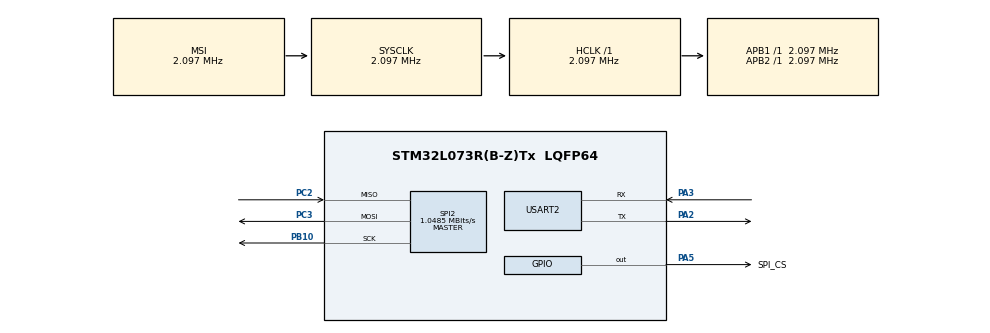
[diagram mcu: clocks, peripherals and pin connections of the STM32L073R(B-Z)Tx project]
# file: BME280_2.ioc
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Mcu.Family=STM32L0
Mcu.Name=STM32L073R(B-Z)Tx
Mcu.Package=LQFP64
NVIC.SPI2_IRQn=true\:0\:0\:false\:false\:true\:true\:true\:true
NVIC.TIM2_IRQn=true\:0\:0\:false\:false\:true\:true\:true\:true
PA2.Mode=Asynchronous
PA2.Signal=USART2_TX
PA3.Mode=Asynchronous
PA3.Signal=USART2_RX
PA5.GPIO_Label=SPI_CS
PA5.GPIO_Speed=GPIO_SPEED_FREQ_HIGH
PA5.PinState=GPIO_PIN_SET
PA5.Signal=GPIO_Output
PB10.Mode=Full_Duplex_Master
PB10.Signal=SPI2_SCK
PC2.Mode=Full_Duplex_Master
PC2.Signal=SPI2_MISO
PC3.Mode=Full_Duplex_Master
PC3.Signal=SPI2_MOSI
ProjectManager.HeapSize=0x200
ProjectManager.StackSize=0x400
ProjectManager.TargetToolchain=STM32CubeIDE
RCC.AHBFreq_Value=2097000
RCC.APB1Freq_Value=2097000
RCC.APB1TimFreq_Value=2097000
RCC.APB2Freq_Value=2097000
RCC.APB2TimFreq_Value=2097000
RCC.HSE_VALUE=8000000
RCC.HSI16_VALUE=16000000
RCC.HSI48_VALUE=48000000
RCC.HSI_VALUE=16000000
RCC.LSE_VALUE=32768
RCC.MSI_VALUE=2097000
RCC.SYSCLKFreq_VALUE=2097000
RCC.VCOOutputFreq_Value=48000000
SPI2.CLKPhase=SPI_PHASE_2EDGE
SPI2.CLKPolarity=SPI_POLARITY_HIGH
SPI2.CalculateBaudRate=1.0485 MBits/s
SPI2.Direction=SPI_DIRECTION_2LINES
SPI2.Mode=SPI_MODE_MASTER
SPI2.VirtualType=VM_MASTER
TIM2.AutoReloadPreload=TIM_AUTORELOAD_PRELOAD_ENABLE
TIM2.Prescaler=2000
USART2.VirtualMode-Asynchronous=VM_ASYNC
VP_TIM2_VS_ClockSourceINT.Mode=Internal
board=custom

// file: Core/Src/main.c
/* USER CODE BEGIN Header */
/**
  ******************************************************************************
  * @file           : main.c
  * @brief          : Main program body
  ******************************************************************************
  * @attention
  *
  * Copyright (c) 2023 STMicroelectronics.
  * All rights reserved.
  *
  * This software is licensed under terms that can be found in the LICENSE file
  * in the root directory of this software component.
  * If no LICENSE file comes with this software, it is provided AS-IS.
  *
  ******************************************************************************
  */
/* USER CODE END Header */
#include "main.h"
#include "bme280.h"

SPI_HandleTypeDef hspi2;

TIM_HandleTypeDef htim2;

UART_HandleTypeDef huart2;

void SystemClock_Config(void);
static void MX_GPIO_Init(void);
static void MX_SPI2_Init(void);
static void MX_TIM2_Init(void);
static void MX_USART2_UART_Init(void);
/* USER CODE BEGIN PFP */
int8_t stream_sensor_data_forced_mode(struct bme280_dev *dev);
void print_sensor_data(struct bme280_data *comp_data);
void user_delay_ms(uint32_t period, void *intf_ptr);
int8_t user_spi_read(uint8_t reg_addr, uint8_t *reg_data, uint32_t len, void *intf_ptr);
int8_t user_spi_write(uint8_t reg_addr, uint8_t *reg_data, uint32_t len, void *intf_ptr);
/* USER CODE END PFP */

int main(void)
{
  /* USER CODE BEGIN 1 */
	struct bme280_dev dev;
	int8_t rslt = BME280_OK;
  /* USER CODE END 1 */

  /* MCU Configuration--------------------------------------------------------*/

  /* Reset of all peripherals, Initializes the Flash interface and the Systick. */
  HAL_Init();

  /* Configure the system clock */
  SystemClock_Config();

  /* Initialize all configured peripherals */
  MX_GPIO_Init();
  MX_SPI2_Init();
  MX_TIM2_Init();
  MX_USART2_UART_Init();
  /* USER CODE BEGIN 2 */
  struct bme280_dev dev;
  uint8_t dev_addr = CS_up_Pin;

  dev.intf_ptr = &dev_addr;
  dev.intf = BME280_SPI_INTF;
  dev.read = user_spi_read;
  dev.write = user_spi_write;
  dev.delay_ms = user_delay_ms;

  rslt = bme280_init(&dev);

  /* USER CODE END 2 */

  /* Infinite loop */
  while (1)
  {

  }
}

void SystemClock_Config(void)
{
  RCC_OscInitTypeDef RCC_OscInitStruct = {0};
  RCC_ClkInitTypeDef RCC_ClkInitStruct = {0};
  RCC_PeriphCLKInitTypeDef PeriphClkInit = {0};

  /** Configure the main internal regulator output voltage
  */
  __HAL_PWR_VOLTAGESCALING_CONFIG(PWR_REGULATOR_VOLTAGE_SCALE1);

  /** Initializes the RCC Oscillators according to the specified parameters
  * in the RCC_OscInitTypeDef structure.
  */
  RCC_OscInitStruct.OscillatorType = RCC_OSCILLATORTYPE_MSI;
  RCC_OscInitStruct.MSIState = RCC_MSI_ON;
  RCC_OscInitStruct.MSICalibrationValue = 0;
  RCC_OscInitStruct.MSIClockRange = RCC_MSIRANGE_5;
  RCC_OscInitStruct.PLL.PLLState = RCC_PLL_NONE;
  if (HAL_RCC_OscConfig(&RCC_OscInitStruct) != HAL_OK)
  {
    Error_Handler();
  }

  /** Initializes the CPU, AHB and APB buses clocks
  */
  RCC_ClkInitStruct.ClockType = RCC_CLOCKTYPE_HCLK|RCC_CLOCKTYPE_SYSCLK
                              |RCC_CLOCKTYPE_PCLK1|RCC_CLOCKTYPE_PCLK2;
  RCC_ClkInitStruct.SYSCLKSource = RCC_SYSCLKSOURCE_MSI;
  RCC_ClkInitStruct.AHBCLKDivider = RCC_SYSCLK_DIV1;
  RCC_ClkInitStruct.APB1CLKDivider = RCC_HCLK_DIV1;
  RCC_ClkInitStruct.APB2CLKDivider = RCC_HCLK_DIV1;

  if (HAL_RCC_ClockConfig(&RCC_ClkInitStruct, FLASH_LATENCY_0) != HAL_OK)
  {
    Error_Handler();
  }
  PeriphClkInit.PeriphClockSelection = RCC_PERIPHCLK_USART2;
  PeriphClkInit.Usart2ClockSelection = RCC_USART2CLKSOURCE_PCLK1;
  if (HAL_RCCEx_PeriphCLKConfig(&PeriphClkInit) != HAL_OK)
  {
    Error_Handler();
  }
}

static void MX_SPI2_Init(void)
{

  /* SPI2 parameter configuration*/
  hspi2.Instance = SPI2;
  hspi2.Init.Mode = SPI_MODE_MASTER;
  hspi2.Init.Direction = SPI_DIRECTION_2LINES;
  hspi2.Init.DataSize = SPI_DATASIZE_8BIT;
  hspi2.Init.CLKPolarity = SPI_POLARITY_HIGH;
  hspi2.Init.CLKPhase = SPI_PHASE_2EDGE;
  hspi2.Init.NSS = SPI_NSS_SOFT;
  hspi2.Init.BaudRatePrescaler = SPI_BAUDRATEPRESCALER_2;
  hspi2.Init.FirstBit = SPI_FIRSTBIT_MSB;
  hspi2.Init.TIMode = SPI_TIMODE_DISABLE;
  hspi2.Init.CRCCalculation = SPI_CRCCALCULATION_DISABLE;
  hspi2.Init.CRCPolynomial = 7;
  if (HAL_SPI_Init(&hspi2) != HAL_OK)
  {
    Error_Handler();
  }

}

static void MX_TIM2_Init(void)
{

  TIM_ClockConfigTypeDef sClockSourceConfig = {0};
  TIM_MasterConfigTypeDef sMasterConfig = {0};

  htim2.Instance = TIM2;
  htim2.Init.Prescaler = 2000;
  htim2.Init.CounterMode = TIM_COUNTERMODE_UP;
  htim2.Init.Period = 65535;
  htim2.Init.ClockDivision = TIM_CLOCKDIVISION_DIV1;
  htim2.Init.AutoReloadPreload = TIM_AUTORELOAD_PRELOAD_ENABLE;
  if (HAL_TIM_Base_Init(&htim2) != HAL_OK)
  {
    Error_Handler();
  }
  sClockSourceConfig.ClockSource = TIM_CLOCKSOURCE_INTERNAL;
  if (HAL_TIM_ConfigClockSource(&htim2, &sClockSourceConfig) != HAL_OK)
  {
    Error_Handler();
  }
  sMasterConfig.MasterOutputTrigger = TIM_TRGO_RESET;
  sMasterConfig.MasterSlaveMode = TIM_MASTERSLAVEMODE_DISABLE;
  if (HAL_TIMEx_MasterConfigSynchronization(&htim2, &sMasterConfig) != HAL_OK)
  {
    Error_Handler();
  }

}

static void MX_USART2_UART_Init(void)
{

  huart2.Instance = USART2;
  huart2.Init.BaudRate = 115200;
  huart2.Init.WordLength = UART_WORDLENGTH_8B;
  huart2.Init.StopBits = UART_STOPBITS_1;
  huart2.Init.Parity = UART_PARITY_NONE;
  huart2.Init.Mode = UART_MODE_TX_RX;
  huart2.Init.HwFlowCtl = UART_HWCONTROL_NONE;
  huart2.Init.OverSampling = UART_OVERSAMPLING_16;
  huart2.Init.OneBitSampling = UART_ONE_BIT_SAMPLE_DISABLE;
  huart2.AdvancedInit.AdvFeatureInit = UART_ADVFEATURE_NO_INIT;
  if (HAL_UART_Init(&huart2) != HAL_OK)
  {
    Error_Handler();
  }

}

static void MX_GPIO_Init(void)
{
  GPIO_InitTypeDef GPIO_InitStruct = {0};

  /* GPIO Ports Clock Enable */
  __HAL_RCC_GPIOC_CLK_ENABLE();
  __HAL_RCC_GPIOA_CLK_ENABLE();
  __HAL_RCC_GPIOB_CLK_ENABLE();

  /*Configure GPIO pin Output Level */
  HAL_GPIO_WritePin(SPI_CS_GPIO_Port, SPI_CS_Pin, GPIO_PIN_SET);

  /*Configure GPIO pin : SPI_CS_Pin */
  GPIO_InitStruct.Pin = SPI_CS_Pin;
  GPIO_InitStruct.Mode = GPIO_MODE_OUTPUT_PP;
  GPIO_InitStruct.Pull = GPIO_NOPULL;
  GPIO_InitStruct.Speed = GPIO_SPEED_FREQ_HIGH;
  HAL_GPIO_Init(SPI_CS_GPIO_Port, &GPIO_InitStruct);

}

/* USER CODE BEGIN 4 */
void user_delay_ms(uint32_t period, void *intf_ptr)
{

}

int8_t user_spi_read(uint8_t reg_addr, uint8_t *reg_data, uint32_t len, void *intf_ptr)
{
    int8_t rslt = 0; /* Return 0 for Success, non-zero for failure */

    /*
     * The parameter intf_ptr can be used as a variable to select which Chip Select pin has
     * to be set low to activate the relevant device on the SPI bus
     */

    /*
     * Data on the bus should be like
     * |----------------+---------------------+-------------|
     * | MOSI           | MISO                | Chip Select |
     * |----------------+---------------------|-------------|
     * | (don't care)   | (don't care)        | HIGH        |
     * | (reg_addr)     | (don't care)        | LOW         |
     * | (don't care)   | (reg_data[0])       | LOW         |
     * | (....)         | (....)              | LOW         |
     * | (don't care)   | (reg_data[len - 1]) | LOW         |
     * | (don't care)   | (don't care)        | HIGH        |
     * |----------------+---------------------|-------------|
     */

    return rslt;
}

int8_t user_spi_write(uint8_t reg_addr, uint8_t *reg_data, uint32_t len, void *intf_ptr)
{
    int8_t rslt = 0; /* Return 0 for Success, non-zero for failure */

    /*
     * The parameter intf_ptr can be used as a variable to select which Chip Select pin has
     * to be set low to activate the relevant device on the SPI bus
     */

    /*
     * Data on the bus should be like
     * |---------------------+--------------+-------------|
     * | MOSI                | MISO         | Chip Select |
     * |---------------------+--------------|-------------|
     * | (don't care)        | (don't care) | HIGH        |
     * | (reg_addr)          | (don't care) | LOW         |
     * | (reg_data[0])       | (don't care) | LOW         |
     * | (....)              | (....)       | LOW         |
     * | (reg_data[len - 1]) | (don't care) | LOW         |
     * | (don't care)        | (don't care) | HIGH        |
     * |---------------------+--------------|-------------|
     */

    return rslt;
}
/* USER CODE END 4 */

void Error_Handler(void)
{
  __disable_irq();
  while (1)
  {
  }
}

int8_t stream_sensor_data_forced_mode(struct bme280_dev *dev)
{
    int8_t rslt;
    uint8_t settings_sel;
	uint32_t req_delay;
    struct bme280_data comp_data;

    /* Recommended mode of operation: Indoor navigation */
    dev->settings.osr_h = BME280_OVERSAMPLING_1X;
    dev->settings.osr_p = BME280_OVERSAMPLING_16X;
    dev->settings.osr_t = BME280_OVERSAMPLING_2X;
    dev->settings.filter = BME280_FILTER_COEFF_16;

    settings_sel = BME280_OSR_PRESS_SEL | BME280_OSR_TEMP_SEL | BME280_OSR_HUM_SEL | BME280_FILTER_SEL;

    rslt = bme280_set_sensor_settings(settings_sel, dev);

	/*Calculate the minimum delay required between consecutive measurement based upon the sensor enabled
     *  and the oversampling configuration. */
    req_delay = bme280_cal_meas_delay(&dev->settings);

    printf("Temperature, Pressure, Humidity\r\n");
    /* Continuously stream sensor data */
    while (1) {
        rslt = bme280_set_sensor_mode(BME280_FORCED_MODE, dev);
        /* Wait for the measurement to complete and print data @25Hz */
        dev->delay_ms(req_delay, dev->intf_ptr);
        rslt = bme280_get_sensor_data(BME280_ALL, &comp_data, dev);
        print_sensor_data(&comp_data);
    }
    return rslt;
}

void print_sensor_data(struct bme280_data *comp_data)
{
#ifdef BME280_FLOAT_ENABLE
        printf("%0.2f, %0.2f, %0.2f\r\n",comp_data->temperature, comp_data->pressure, comp_data->humidity);
#else
        printf("%ld, %ld, %ld\r\n",comp_data->temperature, comp_data->pressure, comp_data->humidity);
#endif
}
